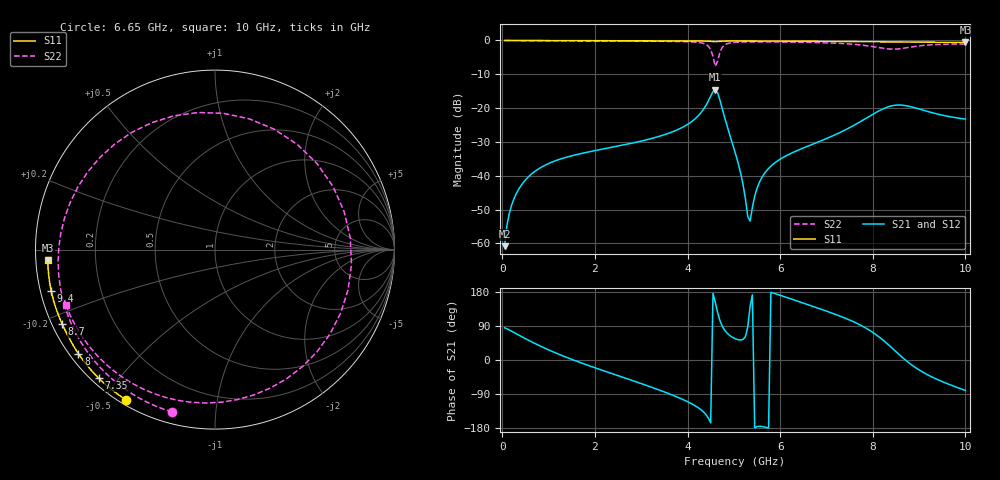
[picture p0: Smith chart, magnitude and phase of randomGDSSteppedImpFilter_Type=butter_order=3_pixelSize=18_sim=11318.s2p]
! freq	dB(S11)	phase(S11)	dB(S12)	phase(S12)
!  dB(S21)	phase(S21)	dB(S22)	phase(S22)
!S-par simulation data
#  GHz  S  DB  R 50
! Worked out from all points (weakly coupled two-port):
!   200 points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, 50 MHz to 10 GHz, reference 50 ohm
!   highest |S21| = -14.54 dB at 4.6 GHz (marker M1); lowest = -60.8 dB at 50 MHz (marker M2)
!   lowest |S11| = -0.6 dB at 10 GHz (marker M3), VSWR 29.05, Z = 1.72 - j1.57 ohm
!   |S11| at or under -10 dB: nowhere
!   |S22| runs from -7.7 to 0.0 dB; largest |S21 - S12| = 0
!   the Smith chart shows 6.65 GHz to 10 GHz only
!   S11 on the Smith chart (normalised r, x): 6.65 GHz: 0.02, -0.57; 7.35 GHz: 0.02, -0.44; 8 GHz: 0.02, -0.34; 8.7 GHz: 0.03, -0.23; 9.4 GHz: 0.03, -0.12; 10 GHz: 0.03, -0.03
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0.05  -0.00 -1.0  -60.79 85.0  -60.79 85.0  -0.00 -6.0
0.25  -0.01 -5.0  -46.85 72.7  -46.85 72.7  -0.04 -29.3
0.8  -0.02 -16.0  -37.80 37.9  -37.80 37.9  -0.10 -88.1
1.75  -0.05 -34.6  -33.27 -9.7  -33.27 -9.7  -0.15 -166.5
2.45  -0.06 -48.0  -31.35 -39.3  -31.35 -39.3  -0.17 146.0
3.4  -0.09 -65.6  -28.29 -79.7  -28.29 -79.7  -0.24 82.6
4.35  -0.17 -82.8  -20.24 -137.7  -20.24 -137.7  -0.90 -4.5
4.5  -0.26 -85.5  -16.45 -165.9  -16.45 -165.9  -2.68 -48.8
4.6  -0.36 -86.5  -14.54 151.6  -14.54 151.6  -7.66 -146.6
4.7  -0.25 -87.4  -17.65 103.9  -17.65 103.9  -3.41 87.9
4.85  -0.16 -90.3  -25.08 71.5  -25.08 71.5  -1.00 34.6
5.05  -0.15 -93.9  -34.15 55.1  -34.15 55.1  -0.53 6.0
5.35  -0.16 -99.1  -53.40 140.1  -53.40 140.1  -0.42 -20.6
5.7  -0.18 -105.0  -38.61 -177.9  -38.61 -177.9  -0.42 -45.3
6.65  -0.24 -120.7  -30.95 143.9  -30.95 143.9  -0.58 -104.7
6.7  -0.25 -121.5  -30.68 141.8  -30.68 141.8  -0.59 -107.9
7.35  -0.30 -132.1  -26.81 113.1  -26.81 113.1  -0.91 -153.4
8  -0.38 -142.7  -21.83 72.9  -21.83 72.9  -1.82 133.7
8.35  -0.44 -148.3  -19.53 38.8  -19.53 38.8  -2.53 63.9
8.7  -0.47 -154.0  -19.24 0.4  -19.24 0.4  -2.22 -16.8
9.4  -0.53 -165.8  -21.76 -51.8  -21.76 -51.8  -1.19 -113.4
10  -0.60 -176.4  -23.23 -80.3  -23.23 -80.3  -1.05 -159.5
